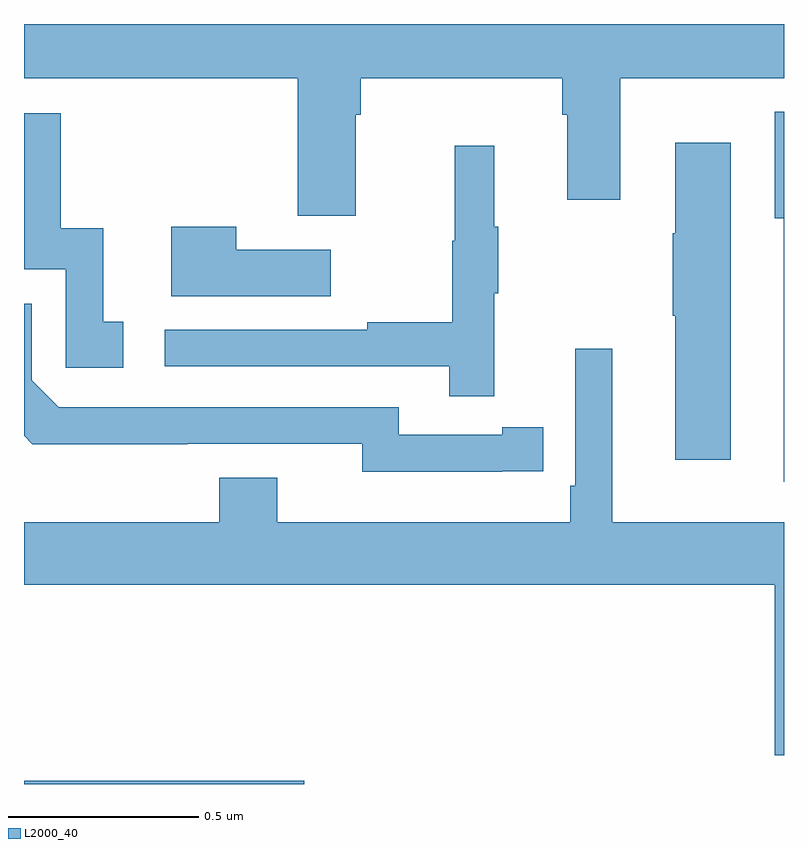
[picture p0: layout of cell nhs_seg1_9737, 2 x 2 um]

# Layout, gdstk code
import gdstk
lib = gdstk.Library(unit=1e-6, precision=1e-09)
def R(c, l, rs):  # rectangles x0, y0, x1, y1
    for r in rs: c.add(gdstk.rectangle(r[:2], r[2:], *l))
def P(c, l, *ps):  # polygons
    for p in ps: c.add(gdstk.Polygon(p, *l))
L2000_40 = (2000, 40)

nhs_seg1_9737 = lib.new_cell('nhs_seg1_9737')
R(nhs_seg1_9737, L2000_40, [(232,559.199,232.738,559.208)])
P(nhs_seg1_9737, L2000_40, [(232.873,560.96),(232.886,560.96),(232.886,561.056),(233.417,561.056),(233.417,560.96),(233.429,560.96),(233.429,560.736),(233.569,560.736),(233.569,561.056),(234,561.056),(234,561.199),(232,561.199),(232,561.056),(232.721,561.056),(232.721,560.694),(232.873,560.694)],
  [(234,560.968),(233.975,560.968),(233.975,560.688),(233.999,560.688),(233.999,559.995),(234,559.995)],
  [(232.261,560.415),(232.208,560.415),(232.208,560.662),(232.097,560.662),(232.097,560.964),(232,560.964),(232,560.553),(232.11,560.553),(232.11,560.295),(232.261,560.295)],
  [(233.86,560.887),(233.714,560.887),(233.714,560.648),(233.707,560.648),(233.707,560.431),(233.714,560.431),(233.714,560.052),(233.86,560.052)],
  [(233.237,560.491),(233.248,560.491),(233.248,560.665),(233.237,560.665),(233.237,560.878),(233.134,560.878),(233.134,560.628),(233.127,560.628),(233.127,560.414),(232.903,560.414),(232.903,560.394),(232.371,560.394),(232.371,560.298),(233.119,560.298),(233.119,560.22),(233.237,560.22)],
  [(232.807,560.605),(232.559,560.605),(232.559,560.665),(232.388,560.665),(232.388,560.483),(232.807,560.483)],
  [(233.258,560.022),(233.366,560.022),(233.366,560.138),(233.258,560.138),(233.258,560.118),(232.986,560.118),(232.986,560.19),(232.092,560.19),(232.02,560.262),(232.02,560.463),(232,560.463),(232,560.115),(232.022,560.093),(232.43,560.093),(232.43,560.094),(232.89,560.094),(232.89,560.021),(233.258,560.021)],
  [(234,559.888),(233.548,559.888),(233.548,560.344),(233.451,560.344),(233.451,559.984),(233.438,559.984),(233.438,559.888),(232.666,559.888),(232.666,560.005),(232.514,560.005),(232.514,559.888),(232,559.888),(232,559.724),(233.976,559.724),(233.976,559.275),(234,559.275)])

lib.write_gds('nhs_seg1_9737.gds')
